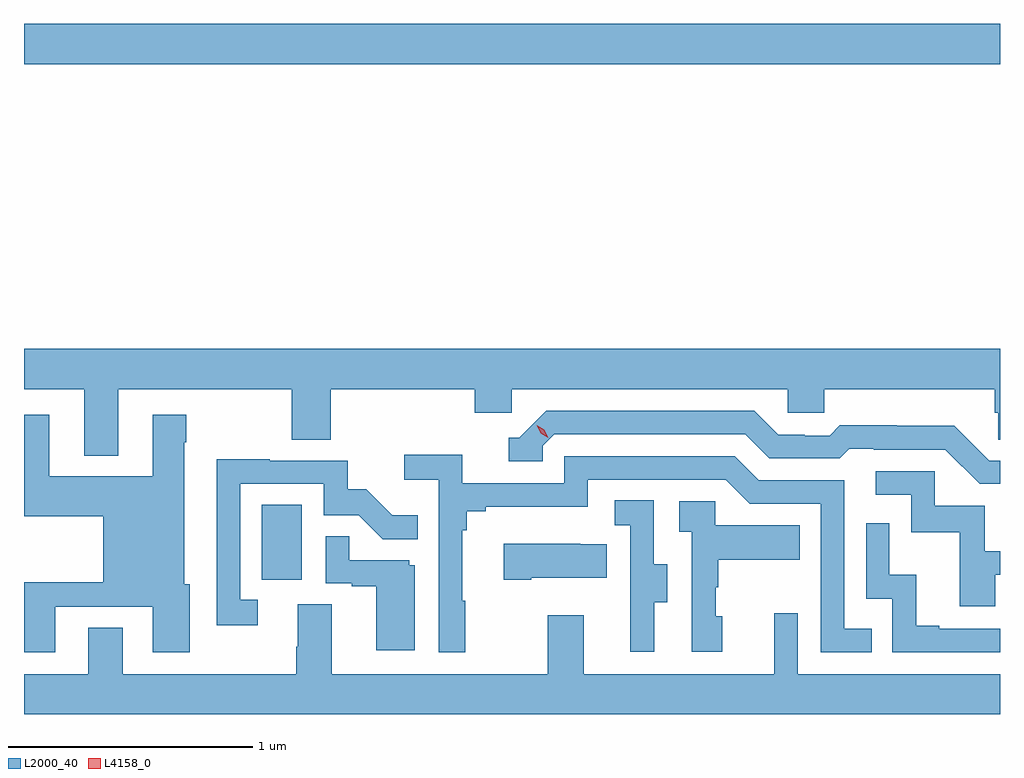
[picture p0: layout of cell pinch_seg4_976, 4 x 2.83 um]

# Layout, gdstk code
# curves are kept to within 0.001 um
import gdstk
lib = gdstk.Library(unit=1e-6, precision=1e-09)
def R(c, l, rs):  # rectangles x0, y0, x1, y1
    for r in rs: c.add(gdstk.rectangle(r[:2], r[2:], *l))
def P(c, l, *ps):  # polygons
    for p in ps: c.add(gdstk.Polygon(p, *l))
L2000_40 = (2000, 40)
L4158_0 = (4158, 0)

pinch_seg4_976 = lib.new_cell('pinch_seg4_976')
R(pinch_seg4_976, L2000_40, [(830.876,777.39,831.04,777.697), (829.901,779.504,833.901,779.668)])
P(pinch_seg4_976, L2000_40, [(830.287,778.172),(830.998,778.172),(830.998,777.964),(831.158,777.964),(831.158,778.172),(831.749,778.172),(831.749,778.074),(831.9,778.074),(831.9,778.172),(833.031,778.172),(833.031,778.074),(833.181,778.074),(833.181,778.172),(833.879,778.172),(833.879,778.074),(833.893,778.074),(833.893,777.964),(833.901,777.964),(833.901,778.336),(829.901,778.336),(829.901,778.172),(830.147,778.172),(830.147,777.899),(830.287,777.899)],
  [(833.901,777.879),(833.856,777.879),(833.714,778.021),(833.478,778.021),(833.478,778.024),(833.245,778.024),(833.203,777.981),(833.1,777.981),(833.1,777.984),(832.993,777.984),(832.894,778.083),(832.041,778.083),(831.93,777.972),(831.887,777.972),(831.887,777.876),(832.026,777.876),(832.026,777.939),(832.074,777.987),(832.857,777.987),(832.956,777.888),(833.245,777.888),(833.284,777.927),(833.383,777.927),(833.383,777.924),(833.676,777.924),(833.817,777.783),(833.901,777.783)],
  [(830.029,777.279),(830.429,777.279),(830.429,777.093),(830.581,777.093),(830.581,777.372),(830.557,777.372),(830.557,777.953),(830.565,777.953),(830.565,778.066),(830.429,778.066),(830.429,777.814),(830.005,777.814),(830.005,778.066),(829.901,778.066),(829.901,777.65),(830.225,777.65),(830.225,777.38),(829.901,777.38),(829.901,777.093),(830.029,777.093)],
  [(831.709,777.305),(831.697,777.305),(831.697,777.593),(831.716,777.593),(831.716,777.67),(831.793,777.67),(831.793,777.689),(832.212,777.689),(832.212,777.801),(832.776,777.801),(832.875,777.702),(833.166,777.702),(833.166,777.093),(833.375,777.093),(833.375,777.189),(833.262,777.189),(833.262,777.798),(832.912,777.798),(832.813,777.897),(832.116,777.897),(832.116,777.786),(831.698,777.786),(831.698,777.902),(831.459,777.902),(831.459,777.8),(831.6,777.8),(831.6,777.093),(831.709,777.093)],
  [(830.86,777.309),(830.787,777.309),(830.787,777.783),(831.129,777.783),(831.129,777.654),(831.273,777.654),(831.371,777.556),(831.515,777.556),(831.515,777.655),(831.411,777.655),(831.304,777.762),(831.228,777.762),(831.228,777.879),(830.909,777.879),(830.909,777.884),(830.69,777.884),(830.691,777.204),(830.86,777.204)],
  [(833.881,777.411),(833.901,777.411),(833.901,777.507),(833.839,777.507),(833.839,777.693),(833.634,777.693),(833.634,777.834),(833.391,777.834),(833.391,777.738),(833.538,777.738),(833.538,777.585),(833.737,777.585),(833.737,777.282),(833.881,777.282)],
  [(832.483,777.298),(832.537,777.298),(832.537,777.453),(832.482,777.453),(832.482,777.716),(832.323,777.716),(832.323,777.613),(832.386,777.613),(832.386,777.309),(832.385,777.309),(832.385,777.096),(832.483,777.096)],
  [(832.762,777.24),(832.737,777.24),(832.737,777.359),(832.747,777.359),(832.747,777.473),(833.081,777.473),(833.081,777.613),(832.734,777.613),(832.734,777.711),(832.587,777.711),(832.587,777.587),(832.638,777.587),(832.638,777.096),(832.762,777.096)],
  [(833.901,777.189),(833.653,777.189),(833.653,777.202),(833.558,777.202),(833.558,777.41),(833.448,777.41),(833.448,777.622),(833.352,777.622),(833.352,777.312),(833.46,777.312),(833.46,777.093),(833.901,777.093)],
  [(831.502,777.45),(831.48,777.45),(831.48,777.471),(831.233,777.471),(831.233,777.569),(831.138,777.569),(831.138,777.375),(831.245,777.375),(831.245,777.363),(831.344,777.363),(831.344,777.102),(831.502,777.102)],
  [(831.979,777.398),(832.289,777.398),(832.289,777.535),(832.181,777.535),(832.181,777.538),(831.867,777.538),(831.867,777.391),(831.979,777.391)],
  [(833.901,777.004),(833.073,777.004),(833.073,777.253),(832.976,777.253),(832.976,777.004),(832.195,777.004),(832.195,777.244),(832.048,777.244),(832.048,777.004),(831.163,777.004),(831.163,777.29),(831.023,777.29),(831.023,777.116),(831.016,777.116),(831.016,777.004),(830.305,777.004),(830.305,777.194),(830.165,777.194),(830.165,777.004),(829.901,777.004),(829.901,776.84),(833.901,776.84)])
P(pinch_seg4_976, L4158_0, [(832.049,777.972),(832.018,777.991),(832.002,778.024),(832.002,778.024),(832.002,778.024),(832.033,778.005),(832.049,777.973),(832.049,777.972)])

lib.write_gds('pinch_seg4_976.gds')
